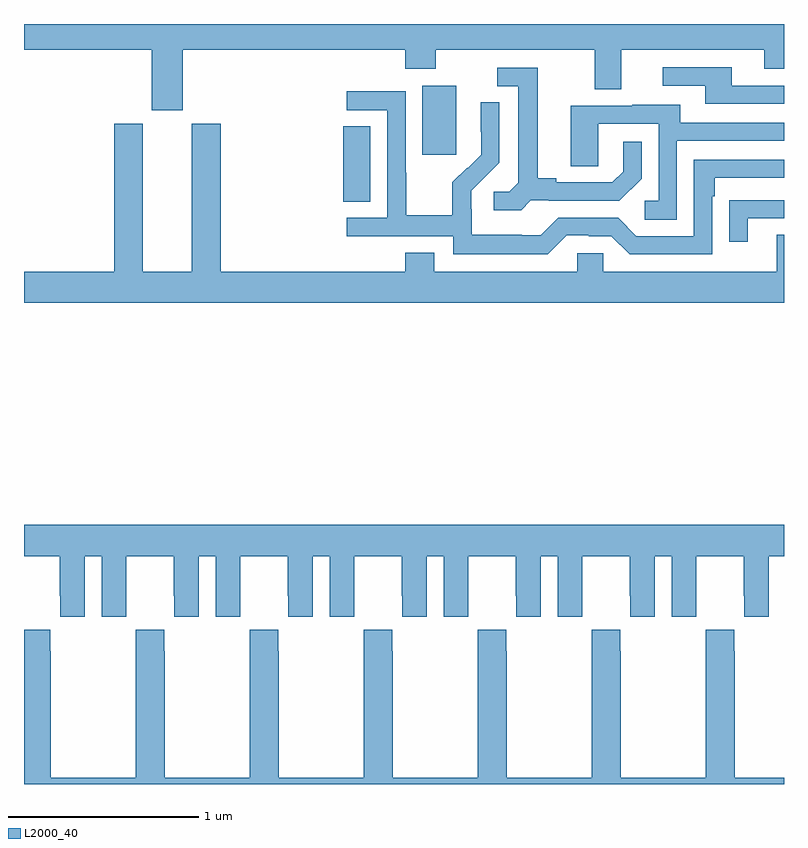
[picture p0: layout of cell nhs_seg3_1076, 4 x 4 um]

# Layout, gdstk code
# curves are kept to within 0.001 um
import gdstk
lib = gdstk.Library(unit=1e-6, precision=1e-09)
def R(c, l, rs):  # rectangles x0, y0, x1, y1
    for r in rs: c.add(gdstk.rectangle(r[:2], r[2:], *l))
def P(c, l, *ps):  # polygons
    for p in ps: c.add(gdstk.Polygon(p, *l))
L2000_40 = (2000, 40)

nhs_seg3_1076 = lib.new_cell('nhs_seg3_1076')
R(nhs_seg3_1076, L2000_40, [(168.68,685.465,168.823,685.862), (169.097,685.713,169.276,686.074)])
P(nhs_seg3_1076, L2000_40, [(167.836,686.264),(169.007,686.264),(169.007,686.165),(169.167,686.165),(169.167,686.264),(170.003,686.264),(170.003,686.056),(170.143,686.056),(170.143,686.264),(170.897,686.264),(170.897,686.165),(171,686.165),(171,686.4),(167,686.4),(167,686.264),(167.672,686.264),(167.672,685.947),(167.836,685.947)],
  [(171,686.076),(170.725,686.076),(170.725,686.172),(170.361,686.172),(170.361,686.076),(170.585,686.076),(170.585,685.98),(171,685.98)],
  [(169.668,685.473),(169.762,685.473),(169.762,685.47),(170.134,685.47),(170.25,685.586),(170.25,685.78),(170.153,685.78),(170.153,685.623),(170.096,685.566),(169.801,685.566),(169.801,685.589),(169.705,685.589),(169.705,686.169),(169.491,686.169),(169.491,686.073),(169.601,686.073),(169.601,685.565),(169.554,685.518),(169.473,685.518),(169.473,685.421),(169.616,685.421)],
  [(169.857,685.287),(169.973,685.287),(169.973,685.284),(170.091,685.284),(170.187,685.188),(170.622,685.188),(170.622,685.493),(170.635,685.493),(170.635,685.59),(171,685.59),(171,685.686),(170.526,685.686),(170.526,685.284),(170.223,685.284),(170.127,685.38),(169.812,685.38),(169.719,685.287),(169.619,685.287),(169.619,685.291),(169.356,685.291),(169.356,685.425),(169.354,685.425),(169.354,685.522),(169.5,685.67),(169.5,685.988),(169.404,685.988),(169.404,685.834),(169.406,685.834),(169.406,685.712),(169.335,685.641),(169.332,685.644),(169.255,685.567),(169.255,685.393),(169.011,685.393),(169.011,685.616),(169.008,685.616),(169.008,686.046),(168.699,686.046),(168.699,685.947),(168.912,685.947),(168.912,685.38),(168.699,685.38),(168.699,685.284),(169.26,685.284),(169.26,685.187),(169.757,685.187)],
  [(170.436,685.785),(171,685.785),(171,685.881),(170.455,685.881),(170.455,685.975),(170.201,685.975),(170.201,685.971),(169.877,685.971),(169.877,685.651),(170.022,685.651),(170.022,685.875),(170.34,685.875),(170.34,685.47),(170.268,685.47),(170.268,685.369),(170.436,685.369)],
  [(171,685.291),(170.963,685.291),(170.963,685.096),(170.049,685.096),(170.049,685.194),(169.911,685.194),(169.911,685.096),(169.159,685.096),(169.159,685.195),(169.007,685.195),(169.007,685.096),(168.035,685.096),(168.035,685.875),(167.882,685.875),(167.882,685.096),(167.626,685.096),(167.626,685.875),(167.474,685.875),(167.474,685.096),(167,685.096),(167,684.932),(171,684.932)],
  [(170.809,685.377),(171,685.377),(171,685.473),(170.815,685.473),(170.815,685.472),(170.713,685.472),(170.713,685.254),(170.809,685.254)],
  [(167,683.6),(167.189,683.6),(167.189,683.392),(167.19,683.392),(167.19,683.28),(167.32,683.28),(167.32,683.6),(167.408,683.6),(167.408,683.28),(167.538,683.28),(167.538,683.392),(167.539,683.392),(167.539,683.6),(167.789,683.6),(167.789,683.392),(167.79,683.392),(167.79,683.28),(167.92,683.28),(167.92,683.6),(168.008,683.6),(168.008,683.28),(168.138,683.28),(168.138,683.392),(168.139,683.392),(168.139,683.6),(168.389,683.6),(168.389,683.392),(168.39,683.392),(168.39,683.28),(168.52,683.28),(168.52,683.6),(168.608,683.6),(168.608,683.28),(168.738,683.28),(168.738,683.392),(168.739,683.392),(168.739,683.6),(168.989,683.6),(168.989,683.392),(168.99,683.392),(168.99,683.28),(169.12,683.28),(169.12,683.6),(169.208,683.6),(169.208,683.28),(169.338,683.28),(169.338,683.392),(169.339,683.392),(169.339,683.6),(169.589,683.6),(169.589,683.392),(169.59,683.392),(169.59,683.28),(169.72,683.28),(169.72,683.6),(169.808,683.6),(169.808,683.28),(169.938,683.28),(169.938,683.392),(169.939,683.392),(169.939,683.6),(170.189,683.6),(170.189,683.392),(170.19,683.392),(170.19,683.28),(170.32,683.28),(170.32,683.6),(170.408,683.6),(170.408,683.28),(170.538,683.28),(170.538,683.392),(170.539,683.392),(170.539,683.6),(170.789,683.6),(170.789,683.392),(170.79,683.392),(170.79,683.28),(170.92,683.28),(170.92,683.6),(171,683.6),(171,683.764),(167,683.764)],
  [(171,682.432),(170.742,682.432),(170.742,683.099),(170.739,683.099),(170.739,683.212),(170.589,683.212),(170.589,683.099),(170.587,683.099),(170.587,682.432),(170.142,682.432),(170.142,683.099),(170.139,683.099),(170.139,683.212),(169.989,683.212),(169.989,683.099),(169.987,683.099),(169.987,682.432),(169.542,682.432),(169.542,683.099),(169.539,683.099),(169.539,683.212),(169.389,683.212),(169.389,683.099),(169.387,683.099),(169.387,682.432),(168.942,682.432),(168.942,683.099),(168.939,683.099),(168.939,683.212),(168.789,683.212),(168.789,683.099),(168.787,683.099),(168.787,682.432),(168.342,682.432),(168.342,683.099),(168.339,683.099),(168.339,683.212),(168.189,683.212),(168.189,683.099),(168.187,683.099),(168.187,682.432),(167.742,682.432),(167.742,683.099),(167.739,683.099),(167.739,683.212),(167.589,683.212),(167.589,683.099),(167.587,683.099),(167.587,682.432),(167.142,682.432),(167.142,683.099),(167.139,683.099),(167.139,683.212),(167,683.212),(167,682.4),(171,682.4)])

lib.write_gds('nhs_seg3_1076.gds')
